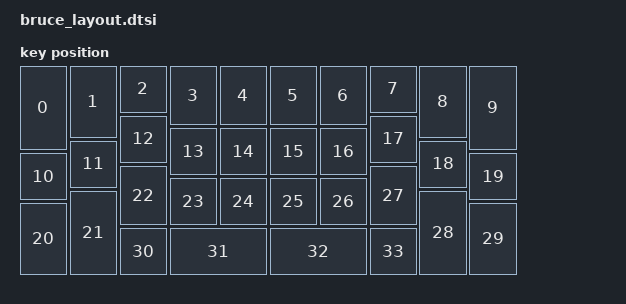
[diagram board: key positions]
#include <physical_layouts.dtsi>

#include "position_map.dtsi"

/ {
    willis_bruce_layout: willis_bruce_layout {
        compatible = "zmk,physical-layout";
        display-name = "Bruce";

        keys  //                 w   h    x    y     rot    rx    ry
        = <&key_physical_attrs 100 175    0    0       0     0     0>
        , <&key_physical_attrs 100 150  100    0       0     0     0>
        , <&key_physical_attrs 100 100  200    0       0     0     0>
        , <&key_physical_attrs 100 125  300    0       0     0     0>
        , <&key_physical_attrs 100 125  400    0       0     0     0>
        , <&key_physical_attrs 100 125  500    0       0     0     0>
        , <&key_physical_attrs 100 125  600    0       0     0     0>
        , <&key_physical_attrs 100 100  700    0       0     0     0>
        , <&key_physical_attrs 100 150  800    0       0     0     0>
        , <&key_physical_attrs 100 175  900    0       0     0     0>
        , <&key_physical_attrs 100 100    0  175       0     0     0>
        , <&key_physical_attrs 100 100  100  150       0     0     0>
        , <&key_physical_attrs 100 100  200  100       0     0     0>
        , <&key_physical_attrs 100 100  300  125       0     0     0>
        , <&key_physical_attrs 100 100  400  125       0     0     0>
        , <&key_physical_attrs 100 100  500  125       0     0     0>
        , <&key_physical_attrs 100 100  600  125       0     0     0>
        , <&key_physical_attrs 100 100  700  100       0     0     0>
        , <&key_physical_attrs 100 100  800  150       0     0     0>
        , <&key_physical_attrs 100 100  900  175       0     0     0>
        , <&key_physical_attrs 100 150    0  275       0     0     0>
        , <&key_physical_attrs 100 175  100  250       0     0     0>
        , <&key_physical_attrs 100 125  200  200       0     0     0>
        , <&key_physical_attrs 100 100  300  225       0     0     0>
        , <&key_physical_attrs 100 100  400  225       0     0     0>
        , <&key_physical_attrs 100 100  500  225       0     0     0>
        , <&key_physical_attrs 100 100  600  225       0     0     0>
        , <&key_physical_attrs 100 125  700  200       0     0     0>
        , <&key_physical_attrs 100 175  800  250       0     0     0>
        , <&key_physical_attrs 100 150  900  275       0     0     0>
        , <&key_physical_attrs 100 100  200  325       0     0     0>
        , <&key_physical_attrs 200 100  300  325       0     0     0>
        , <&key_physical_attrs 200 100  500  325       0     0     0>
        , <&key_physical_attrs 100 100  700  325       0     0     0>
        ;
    };
};

&layouts_willis_position_map{
        bruce {
                physical-layout = <&willis_bruce_layout>;

                positions
                = < 0  1  2  3  4  5  6  7  8  9>
                , <10 11 12 13 14 15 16 17 18 19>
                , <20 21 22 23 24 25 26 27 28 29>
                , <      30 34 31 32 35 33      >;
        };
};
